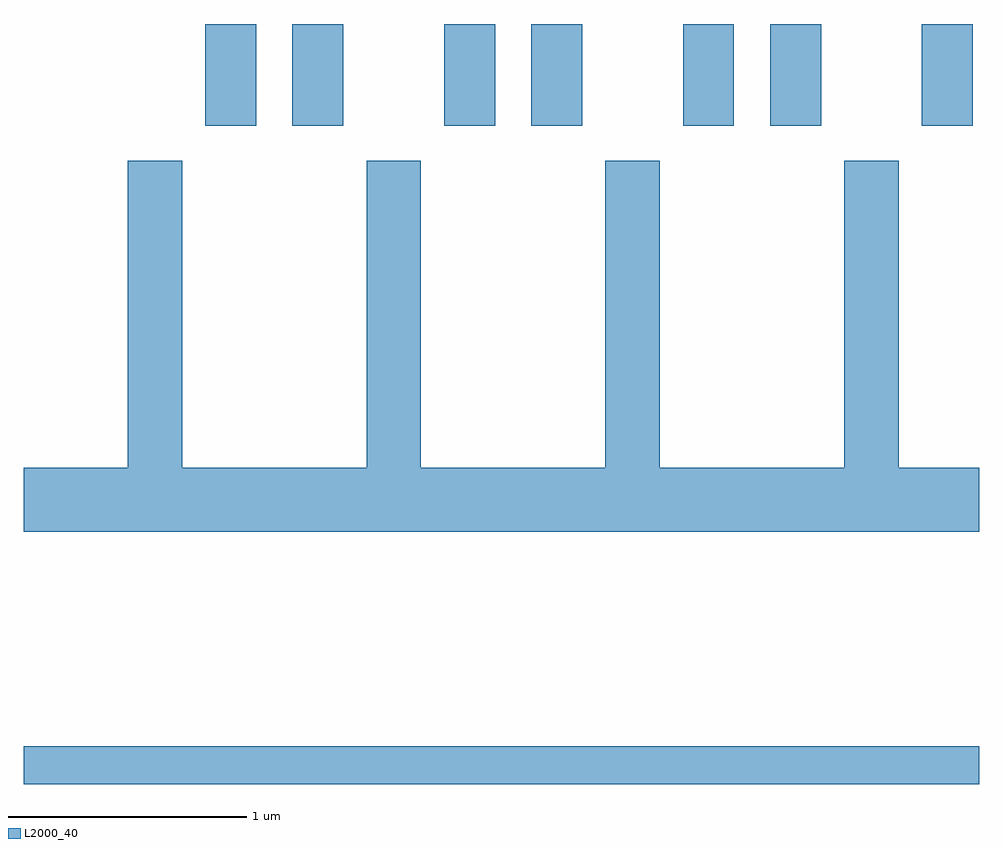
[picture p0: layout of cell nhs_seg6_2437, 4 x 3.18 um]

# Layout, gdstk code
import gdstk
lib = gdstk.Library(unit=1e-6, precision=1e-09)
def R(c, l, rs):  # rectangles x0, y0, x1, y1
    for r in rs: c.add(gdstk.rectangle(r[:2], r[2:], *l))
def P(c, l, *ps):  # polygons
    for p in ps: c.add(gdstk.Polygon(p, *l))
L2000_40 = (2000, 40)

nhs_seg6_2437 = lib.new_cell('nhs_seg6_2437')
R(nhs_seg6_2437, L2000_40, [(259.611,1548.981,263.611,1549.139), (260.371,1551.736,260.584,1552.162), (260.736,1551.736,260.949,1552.162), (261.371,1551.736,261.584,1552.162), (261.736,1551.736,261.949,1552.162), (262.371,1551.736,262.584,1552.162), (262.736,1551.736,262.949,1552.162), (263.371,1551.736,263.584,1552.162)])
P(nhs_seg6_2437, L2000_40, [(263.611,1550.304),(263.274,1550.304),(263.274,1551.589),(263.046,1551.589),(263.046,1550.304),(262.274,1550.304),(262.274,1551.589),(262.046,1551.589),(262.046,1550.304),(261.274,1550.304),(261.274,1551.589),(261.046,1551.589),(261.046,1550.304),(260.274,1550.304),(260.274,1551.589),(260.046,1551.589),(260.046,1550.304),(259.611,1550.304),(259.611,1550.036),(263.611,1550.036)])

lib.write_gds('nhs_seg6_2437.gds')
